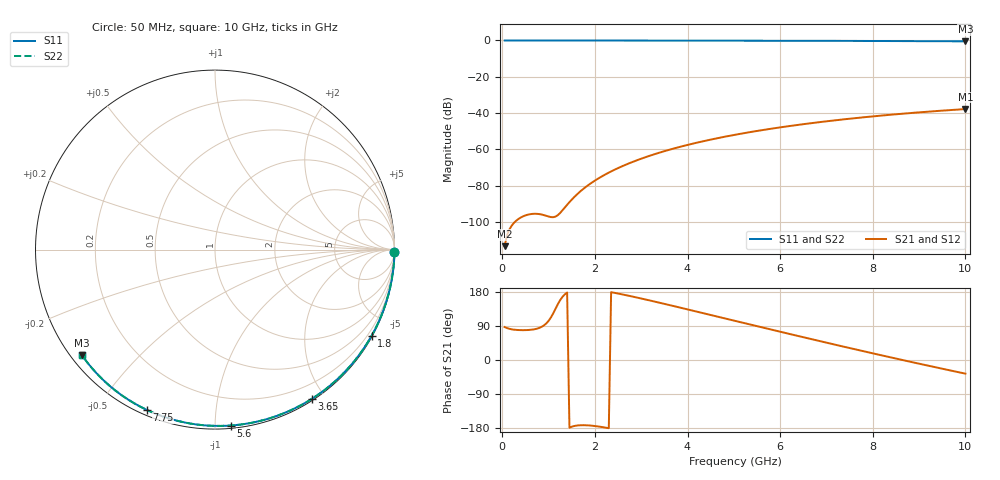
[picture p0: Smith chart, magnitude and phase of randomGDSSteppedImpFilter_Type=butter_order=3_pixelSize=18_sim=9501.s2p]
! freq	dB(S11)	phase(S11)	dB(S12)	phase(S12)
!  dB(S21)	phase(S21)	dB(S22)	phase(S22)
!S-par simulation data
#  GHz  S  DB  R 50
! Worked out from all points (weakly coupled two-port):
!   200 points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, 50 MHz to 10 GHz, reference 50 ohm
!   highest |S21| = -37.78 dB at 10 GHz (marker M1); lowest = -113.3 dB at 50 MHz (marker M2)
!   lowest |S11| = -0.5 dB at 10 GHz (marker M3), VSWR 36.33, Z = 1.54 - j17.4 ohm
!   |S11| at or under -10 dB: nowhere
!   |S22| runs from -0.5 to 0.0 dB; largest |S21 - S12| = 0
!   S11 on the Smith chart (normalised r, x): 50 MHz: open; 1.8 GHz: 0.03, -3.89; 3.65 GHz: 0.02, -1.84; 5.6 GHz: 0.02, -1.10; 7.75 GHz: 0.02, -0.66; 10 GHz: 0.03, -0.35
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0.05  -0.00 -0.8  -113.29 87.0  -113.29 87.0  -0.00 -0.8
0.45  -0.01 -7.3  -96.85 78.7  -96.85 78.7  -0.01 -7.3
0.9  -0.02 -14.6  -96.18 91.4  -96.18 91.4  -0.02 -14.6
1.75  -0.04 -28.1  -81.73 -172.0  -81.73 -172.0  -0.04 -28.1
1.8  -0.04 -28.9  -80.73 -172.2  -80.73 -172.2  -0.04 -28.9
1.85  -0.04 -29.6  -79.78 -172.5  -79.78 -172.5  -0.04 -29.6
2  -0.04 -32.0  -77.17 -174.2  -77.17 -174.2  -0.04 -32.0
2.15  -0.04 -34.3  -74.84 -176.8  -74.84 -176.8  -0.04 -34.3
2.35  -0.05 -37.4  -72.11 179.0  -72.11 179.0  -0.05 -37.4
2.55  -0.05 -40.5  -69.70 174.2  -69.70 174.2  -0.05 -40.5
2.95  -0.06 -46.6  -65.57 163.7  -65.57 163.7  -0.06 -46.6
3.4  -0.07 -53.4  -61.73 151.0  -61.73 151.0  -0.07 -53.4
3.65  -0.08 -57.1  -59.87 143.8  -59.87 143.8  -0.08 -57.1
4.3  -0.09 -66.6  -55.71 124.7  -55.71 124.7  -0.09 -66.6
5.05  -0.12 -77.2  -51.82 102.6  -51.82 102.6  -0.12 -77.2
5.6  -0.14 -84.8  -49.42 86.3  -49.42 86.3  -0.14 -84.8
6.15  -0.16 -92.2  -47.31 70.3  -47.31 70.3  -0.16 -92.2
6.7  -0.19 -99.5  -45.45 54.3  -45.45 54.3  -0.19 -99.5
7.75  -0.26 -113.1  -42.44 24.5  -42.44 24.5  -0.26 -113.1
8.35  -0.31 -120.7  -40.99 7.9  -40.99 7.9  -0.31 -120.7
9.2  -0.39 -131.4  -39.20 -15.1  -39.20 -15.1  -0.39 -131.4
10  -0.48 -141.5  -37.78 -36.0  -37.78 -36.0  -0.48 -141.5
